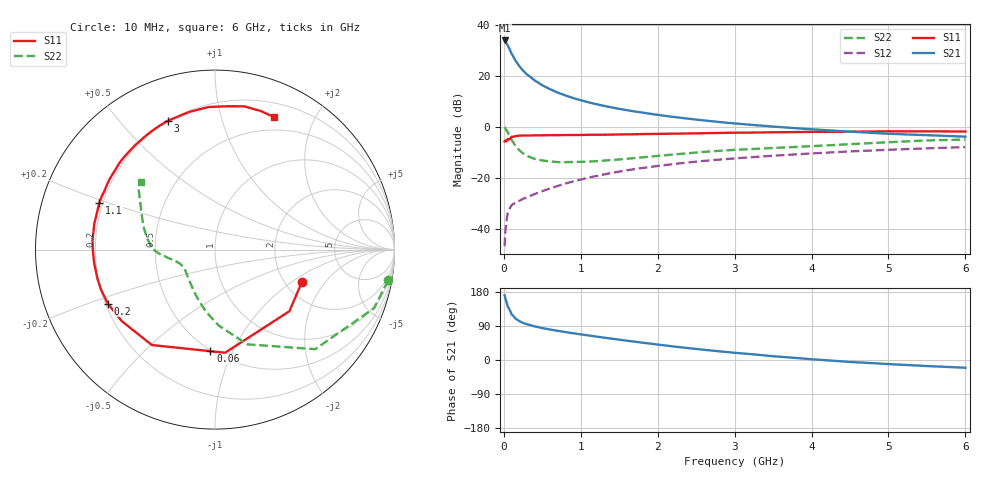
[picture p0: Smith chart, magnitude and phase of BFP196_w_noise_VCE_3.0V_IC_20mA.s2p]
! Infineon Technologies  Discrete & RF Semiconductors
! BFP196
! VCE =  3.0 V,  IC =  20 mA
! Common Emitter S-Parameters:  Jan 2017
# GHz  S  MA  R  50
!  f  S11  S21  S12  S22
! GHz  MAG  ANG  MAG  ANG  MAG  ANG  MAG  ANG
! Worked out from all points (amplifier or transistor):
!   77 points, 10 MHz to 6 GHz, reference 50 ohm
!   highest |S21| = 33.9 dB at 10 MHz (marker M1)
!   |S21| within 3 dB of that: start of sweep to 67.53 MHz
!   unconditionally stable (mu >= 1): 759.4 MHz to 2.457 GHz
!   at 130 MHz: K = 0.39, MSG = 28.7 dB, |S12| = -30.2 dB
!   at 2.2 GHz: K = 1.02, MAG = 8.5 dB, |S12| = -14.7 dB
!   at 6 GHz: K = 0.95, MSG = 2.1 dB, |S12| = -8.0 dB
!   lowest NFmin = 1.10 dB at 450 MHz
!   S11 on the Smith chart (normalised r, x): 10 MHz: 2.44, -1.22; 60 MHz: 0.49, -0.82; 200 MHz: 0.21, -0.23; 1.1 GHz: 0.19, +0.19; 3 GHz: 0.20, +0.68; 6 GHz: 0.35, +1.49
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0.01  0.5168 -20.7  49.71 171.0  0.0045 82.5  0.9796 -10.1
0.02  0.5383 -39.6  48.58 162.5  0.009 77.7  0.9447 -20.2
0.05  0.5773 -84.4  40.01 141.2  0.0201 57.3  0.7872 -44.8
0.06  0.5666 -92.6  37.22 138.2  0.0218 54.8  0.7313 -48.7
0.1  0.6377 -123.5  27.58 120.5  0.0288 47.7  0.5575 -71.2
0.15  0.6546 -142.5  20.08 109.6  0.0321 43.3  0.4228 -87.3
0.2  0.6691 -153.3  15.62 102.8  0.0349 43.6  0.3477 -98.6
0.25  0.6731 -160.9  12.7 97.8  0.0384 43.9  0.2994 -107.1
0.3  0.6745 -166.2  10.7 94.3  0.041 46.2  0.2688 -114.5
0.4  0.6776 -173.8  8.132 88.6  0.0476 50.1  0.2342 -125.3
0.5  0.6804 -179.8  6.534 84.2  0.0542 52.1  0.2172 -133.3
0.6  0.6845 175.6  5.478 80.4  0.0614 53.9  0.2083 -139.7
0.7  0.6842 171.7  4.703 77.0  0.0687 55.9  0.2022 -144.5
0.9  0.6876 164.5  3.669 70.6  0.0842 57.0  0.2032 -151.2
1.1  0.6955 158.1  3.03 64.8  0.1003 57.4  0.207 -156.2
1.5  0.7059 146.4  2.249 53.7  0.1314 55.2  0.2281 -163.6
2.1  0.7276 130.1  1.638 38.4  0.1769 49.6  0.2757 -171.5
3  0.7643 110.1  1.163 19.0  0.2389 39.2  0.3517 177.9
3.1  0.7658 108.2  1.13 17.4  0.2449 38.0  0.3575 176.4
4.1  0.7954 91.1  0.874 0.6  0.3045 26.6  0.4232 160.8
5.1  0.8135 77.1  0.72 -11.8  0.3576 15.1  0.505 146.0
6  0.8084 65.9  0.64 -20.4  0.3986 4.9  0.5608 137.6
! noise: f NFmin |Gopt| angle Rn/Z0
0.45  1.1  0.34  159  0.05
0.9  1.3  0.47  179  0.06
1.9  2.2  0.68  -137  0.24
2.4  2.65  0.72  -122  0.59
